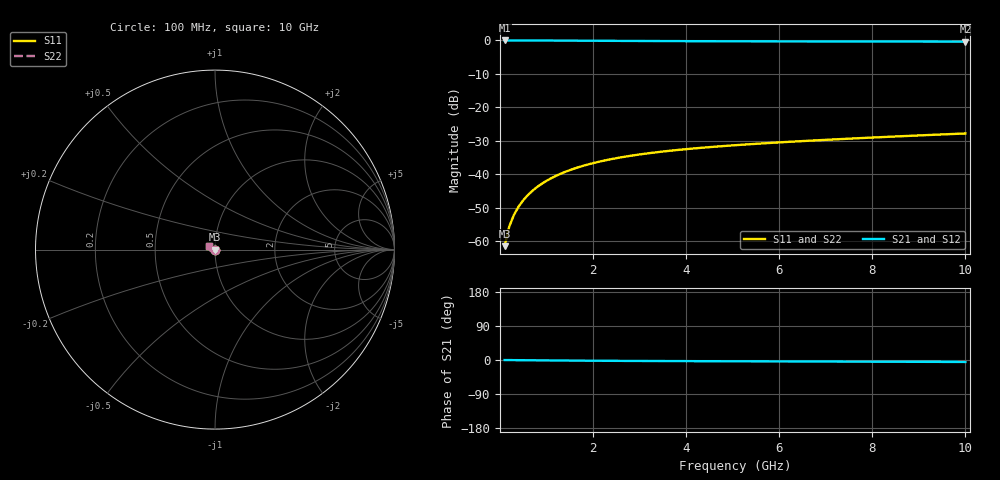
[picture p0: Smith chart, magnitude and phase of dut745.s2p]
! Touchstone file exported from HFSS 2024.1.0
!  File:  C:/UserFiles/LocalFiles/RDL_TSV_Batchsim/temp_TSV1_745_1779870734.aedt
!  Generated:  04:38:23 PM May 27, 2026
!  Design:  TSV1
!  Project:  temp_TSV1_745_1779870734
!  Setup:  Setup1
!  Solution:  Sweep
! Variables:
!  dtsv = 7.95um
!  hbump = 3um
!  htsv = 75.83um
!  lrdl = 252.1521522um
!  p = 40
!  p1 = 58.02um
!  t = 500um
!  trdl = 3um
!  wrdl = 24.89489489um
# GHz S MA R 50.000000
! Terminal data exported
! Port[1] = TSV22_T1
! Port[2] = TSV22_T2
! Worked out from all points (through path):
!   100 points, 100 MHz to 10 GHz, reference 50 ohm
!   highest |S21| = 0.00 dB at 100 MHz (marker M1); lowest = -0.3 dB at 10 GHz (marker M2)
!   lowest |S11| = -61.4 dB at 100 MHz (marker M3), VSWR 1.00, Z = 50 - j0.0828 ohm
!   |S11| at or under -10 dB: start of sweep to end of sweep
!   |S22| runs from -61.4 to -27.8 dB; largest |S21 - S12| = 9.1e-15
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0.1  0.000849 -77.3  0.9997 -0.1  0.9997 -0.1  0.000849 -77.3
! Gamma 0 0 0 0
! Port Impedance 50 0 50 0
0.2  0.001667 -86.9  0.9996 -0.2  0.9996 -0.2  0.001667 -86.9
0.3  0.002488 -91.7  0.9995 -0.3  0.9995 -0.3  0.002488 -91.7
0.4  0.003306 -95.2  0.9992 -0.4  0.9992 -0.4  0.003306 -95.2
0.5  0.004117 -98.3  0.9989 -0.6  0.9989 -0.6  0.004117 -98.3
0.6  0.004921 -101.0  0.9986 -0.7  0.9986 -0.7  0.004921 -101.0
0.7  0.005714 -103.6  0.9981 -0.8  0.9981 -0.8  0.005714 -103.6
0.8  0.006497 -106.1  0.9977 -0.9  0.9977 -0.9  0.006497 -106.1
0.9  0.007268 -108.5  0.9972 -1.0  0.9972 -1.0  0.007268 -108.5
1.1  0.008768 -113.1  0.996 -1.2  0.996 -1.2  0.008768 -113.1
1.4  0.0109 -119.6  0.994 -1.4  0.994 -1.4  0.0109 -119.6
1.6  0.01225 -123.8  0.9926 -1.6  0.9926 -1.6  0.01225 -123.8
1.8  0.01352 -127.8  0.9911 -1.8  0.9911 -1.8  0.01352 -127.8
2.1  0.01531 -133.5  0.9888 -2.0  0.9888 -2.0  0.01531 -133.5
2.5  0.01747 -140.6  0.9858 -2.2  0.9858 -2.2  0.01747 -140.6
2.9  0.01941 -147.1  0.9829 -2.5  0.9829 -2.5  0.01941 -147.1
3.4  0.02156 -154.6  0.9796 -2.7  0.9796 -2.7  0.02156 -154.6
4.2  0.02454 -165.1  0.9752 -3.1  0.9752 -3.1  0.02454 -165.1
5.1  0.02744 -175.2  0.9712 -3.4  0.9712 -3.4  0.02744 -175.2
6.7  0.03201 170.3  0.9663 -4.0  0.9663 -4.0  0.03201 170.3
8.4  0.03658 158.3  0.9629 -4.6  0.9629 -4.6  0.03658 158.3
10  0.04088 149.3  0.9607 -5.2  0.9607 -5.2  0.04088 149.3
